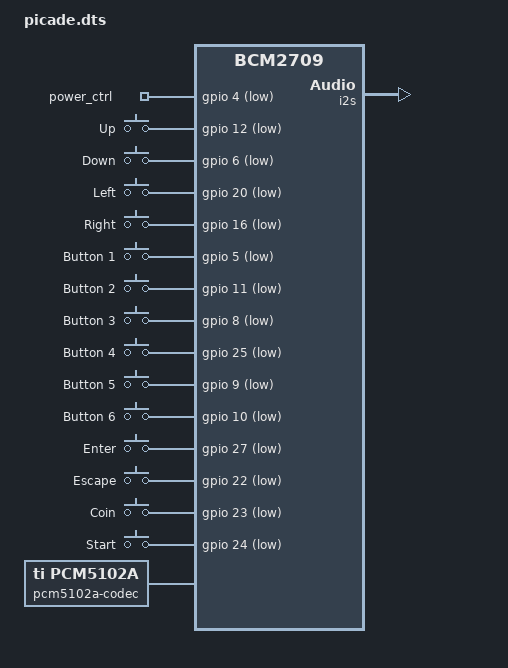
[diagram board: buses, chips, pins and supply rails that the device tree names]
/dts-v1/;
/plugin/;

/ {
	compatible = "brcm,bcm2835", "brcm,bcm2708", "brcm,bcm2709";

	fragment@0 {
		target = <&gpio>;
		__overlay__ {
			picade_pins: picade_pins {
				brcm,pins = <5 6 8 9 10 11 12 16 20 22 23 24 25 27>;
				brcm,function = <0>;
				brcm,pull = <2>;
			};
			power_ctrl_pins: power_ctrl_pins {
				brcm,pins = <4>;
				brcm,function = <1>;
			};
		};
	};
	
	fragment@1 {
		target-path = "/";
		__overlay__ {
			power_ctrl: power_ctrl {
				compatible = "gpio-poweroff";
				gpios = <&gpio 4 1>;
				force;
			};
		};
	};

	fragment@2 {
		target-path = "/";
		__overlay__ {
			gpio_keys: gpio_keys {
				compatible = "gpio-keys";
				pinctrl-names = "default";
				pinctrl-0 = <&picade_pins>;
				status = "okay";

				up: up {
					label = "Up";
					linux,code = <103>;
					gpios = <&gpio 12 1>; 
				};

				down: down {
					label = "Down";
					linux,code = <108>;
					gpios = <&gpio 6 1>;
				};

				left: left {
					label = "Left";
					linux,code = <105>;
					gpios = <&gpio 20 1>;
				};

				right: right {
					label = "Right";
					linux,code = <106>;
					gpios = <&gpio 16 1>;
				};

				button1: button1 {
					label = "Button 1";
					linux,code = <29>;
					gpios = <&gpio 5 1>;
				};

				button2: button2 {
					label = "Button 2";
					linux,code = <56>;
					gpios = <&gpio 11 1>;
				};

				button3: button3 {
					label = "Button 3";
					linux,code = <57>;
					gpios = <&gpio 8 1>;
				};

				button4: button4 {
					label = "Button 4";
					linux,code = <42>;
					gpios = <&gpio 25 1>;
				};

				button5: button5 {
					label = "Button 5";
					linux,code = <44>;
					gpios = <&gpio 9 1>;
				};

				button6: button6 {
					label = "Button 6";
					linux,code = <45>;
					gpios = <&gpio 10 1>;
				};

				enter: enter {
					label = "Enter";
					linux,code = <28>;
					gpios = <&gpio 27 1>;
				};

				escape: escape {
					label = "Escape";
					linux,code = <1>;
					gpios = <&gpio 22 1>;
				};

				coin: coin {
					label = "Coin";
					linux,code = <23>;
					gpios = <&gpio 23 1>;
				};

				start: start {
					label = "Start";
					linux,code = <24>;
					gpios = <&gpio 24 1>;
				};
			};
		};
	};

	fragment@3 {
		target = <&i2s_pins>;
		__overlay__ {
			/*
			We cannot share BCM 20 between gpio keys (Left) and i2s (PCM_DIN)
			Assign PCM_DIN to the HAT EEPROM (ID_SD) pin which should be generally unused.
			*/
			brcm,pins = <18 19 0 21>;
			brcm,function = <4 4 0 4>;
		};
	};

	fragment@4 {
		target = <&i2s>;
		__overlay__ {
			status = "okay";
		};
	};

	fragment@5 {
		target-path = "/";
		__overlay__ {
			pcm5102a-codec {
				#sound-dai-cells = <0>;
				compatible = "ti,pcm5102a";
				status = "okay";
			};
		};
	};

	fragment@6 {
		target = <&sound>;
		__overlay__ {
			compatible = "hifiberry,hifiberry-dac";
			i2s-controller = <&i2s>;
			status = "okay";
		};
	};

	__overrides__ {
		up = <&up>,"linux,code:0";
		down = <&down>,"linux,code:0";
		left = <&left>,"linux,code:0";
		right = <&right>,"linux,code:0";
		button1 = <&button1>,"linux,code:0";
		button2 = <&button2>,"linux,code:0";
		button3 = <&button3>,"linux,code:0";
		button4 = <&button4>,"linux,code:0";
		button5 = <&button5>,"linux,code:0";
		button6 = <&button6>,"linux,code:0";
		enter = <&enter>,"linux,code:0";
		escape = <&escape>,"linux,code:0";
		coin = <&coin>,"linux,code:0";
		start = <&start>,"linux,code:0";
		nosound = <0>,"-3-4-5-6";
		noaudio = <0>,"-3-4-5-6";
	};
};
